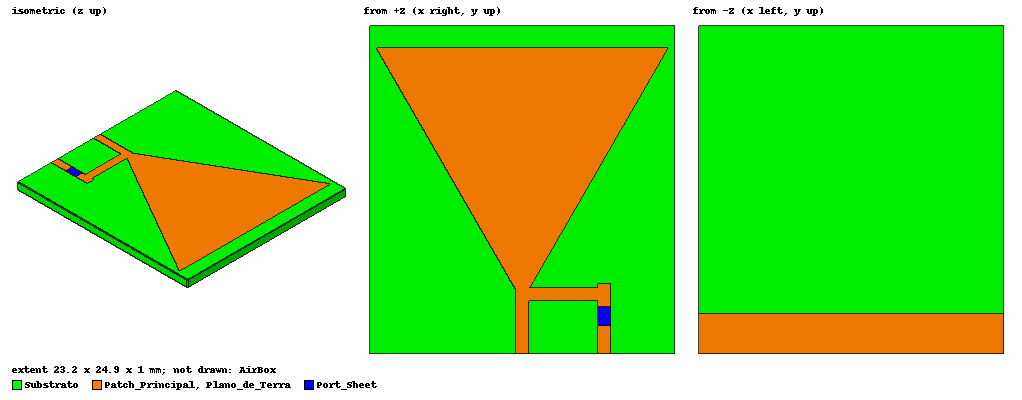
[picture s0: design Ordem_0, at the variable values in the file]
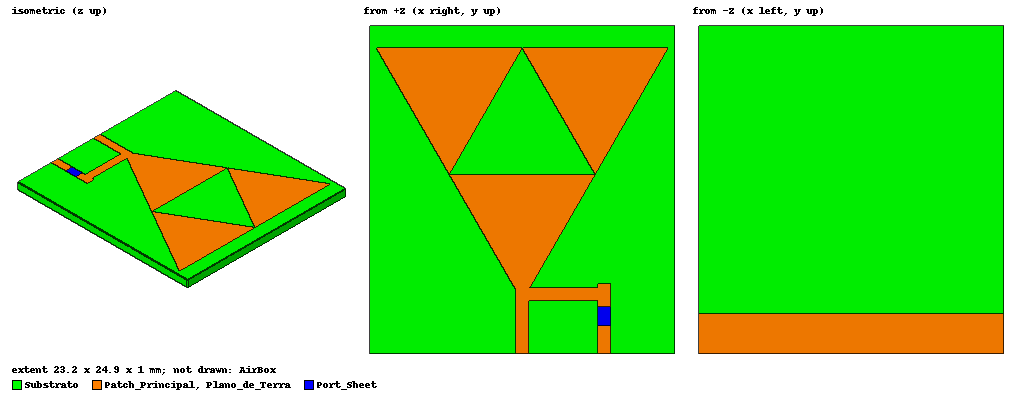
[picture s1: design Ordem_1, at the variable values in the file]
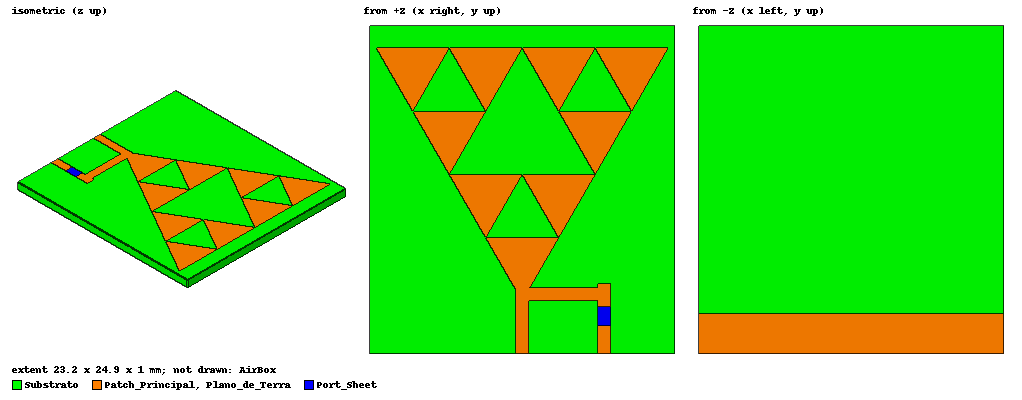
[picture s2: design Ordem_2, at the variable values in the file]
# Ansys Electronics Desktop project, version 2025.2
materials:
  epoxy_Kevlar: permittivity=3.6
  vacuum: permittivity=1

design Ordem_0 (HFSS, HFSS Hybrid Modal Network, model units mm)
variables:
  W_sub = 23.2mm
  L_sub = 24.9mm
  L = 4.8mm
  Ratio_R = 0.577
  W = Ratio_R*L
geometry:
  Substrato [epoxy_Kevlar] = box(corner=(-11.6mm, 0mm, 0mm), size=(23.2mm, 24.9mm, 1mm))
  Plano_de_Terra = rectangle(corner=(-11.6mm, 0mm, 0mm), x_size=23.2mm, y_size=3mm)
  Patch_Principal = polyline(z=1mm, xy: (0mm, 4mm) (4*W, 4mm + 4*L) (-4*W, 4mm + 4*L) (0mm, 4mm), closed, covered)
  Loop_Left = rectangle(corner=(-0.5mm, 0mm, 1mm), x_size=1mm, y_size=5mm)
  Loop_Top = rectangle(corner=(0.5mm, 4mm, 1mm), x_size=5.2mm, y_size=1mm)
  Loop_Right_Bottom = rectangle(corner=(5.7mm, 0mm, 1mm), x_size=1mm, y_size=2.1mm)
  Loop_Right_Top = rectangle(corner=(5.7mm, 3.6mm, 1mm), x_size=1mm, y_size=1.7mm)
  Patch_Principal.unite(Loop_Left, Loop_Top, Loop_Right_Bottom, Loop_Right_Top)
  Via_Left = rectangle(corner=(-0.5mm, 0mm, 0mm), z_size=1mm, x_size=1mm)
  Via_Right = rectangle(corner=(5.7mm, 0mm, 0mm), z_size=1mm, x_size=1mm)
  Port_Sheet = rectangle(corner=(5.7mm, 2.1mm, 1mm), x_size=1mm, y_size=1.5mm)
  AirBox [vacuum] = box(corner=(-46.6mm, -35mm, -35mm), size=(93.2mm, 94.9mm, 71mm))
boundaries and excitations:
  GND_PerfectE: Perfect E Objects=Plano_de_Terra
  Patch_PerfectE: Perfect E Objects=Patch_Principal
  ViaLeft_E: Perfect E Objects=Via_Left
  ViaRight_E: Perfect E Objects=Via_Right
  Radiation1: Radiation Objects=AirBox
  Port1: Lumped Port Objects=Port_Sheet LumpedPortType=Modal Modes{Mode1{IntLine{(6.2, 2.1, 1) -> (6.2, 3.6, 1)} CharImp=Zpi RenormImp=50ohm}} Impedance=50ohm
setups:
  Setup1: HfssDriven Frequency=2.45GHz MaxDeltaS=0.01 MaximumPasses=15 MinimumPasses=3 MinimumConvergedPasses=2 PercentRefinement=30 BasisOrder=1 PortAccuracy=2 DrivenSolverType="Direct Solver"
    sweep Sweep1: 1.5GHz to 4GHz step 0.01GHz; Type=Interpolating InterpTolerance=0.5 InterpMaxSolns=250 InterpUsePortImped=false PassivityErrorTolerance=0.0001
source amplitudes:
  Port1:1: 1W 0deg
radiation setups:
  Infinite Sphere1: Infinite Sphere Theta=0deg..180deg step 2deg Phi=-180deg..180deg step 2deg
  Esfera_2D: Infinite Sphere Theta=-180deg..180deg step 2deg Phi=0deg..90deg step 90deg
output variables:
  S11_chip = (Z(Port1,Port1)-cmplx(30.0,200.0))/(Z(Port1,Port1)+cmplx(30.0,-200.0))
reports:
  Z_entrada: re(Z(Port1,Port1)), im(Z(Port1,Port1)) vs Freq on Setup1 : Sweep1
  S11_chip: dB(S11_chip) vs Freq on Setup1 : Sweep1
  S11_50ohm: dB(S(Port1,Port1)) vs Freq on Setup1 : Sweep1
  Ganho_3D: dB(GainTotal) vs Phi, Theta on Setup1 : LastAdaptive, Infinite Sphere1 [Freq=2.45GHz]
  Diagrama_2D_Planos: dB(GainTotal) vs Theta on Setup1 : LastAdaptive, Esfera_2D [Phi=0deg,90deg Freq=2.45GHz]
  Diagrama_2D_XY: dB(GainTotal) vs Phi on Setup1 : LastAdaptive, Infinite Sphere1 [Theta=90deg Freq=2.45GHz]

design Ordem_1 (HFSS, HFSS Hybrid Modal Network, model units mm)
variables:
  W_sub = 23.2mm
  L_sub = 24.9mm
  L = 4.8mm
  Ratio_R = 0.577
  W = Ratio_R*L
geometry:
  Substrato [epoxy_Kevlar] = box(corner=(-11.6mm, 0mm, 0mm), size=(23.2mm, 24.9mm, 1mm))
  Plano_de_Terra = rectangle(corner=(-11.6mm, 0mm, 0mm), x_size=23.2mm, y_size=3mm)
  Patch_Principal = polyline(z=1mm, xy: (0mm, 4mm) (4*W, 4mm + 4*L) (-4*W, 4mm + 4*L) (0mm, 4mm), closed, covered)
  Cutout_1 = polyline(z=1mm, xy: (2.0*W, 4mm + 2.0*L) (0mm, 4mm + 4.0*L) (-2.0*W, 4mm + 2.0*L) (2.0*W, 4mm + 2.0*L), closed, covered)
  Patch_Principal.subtract(Cutout_1)
  Loop_Left = rectangle(corner=(-0.5mm, 0mm, 1mm), x_size=1mm, y_size=5mm)
  Loop_Top = rectangle(corner=(0.5mm, 4mm, 1mm), x_size=5.2mm, y_size=1mm)
  Loop_Right_Bottom = rectangle(corner=(5.7mm, 0mm, 1mm), x_size=1mm, y_size=2.1mm)
  Loop_Right_Top = rectangle(corner=(5.7mm, 3.6mm, 1mm), x_size=1mm, y_size=1.7mm)
  Patch_Principal.unite(Loop_Left, Loop_Top, Loop_Right_Bottom, Loop_Right_Top)
  Via_Left = rectangle(corner=(-0.5mm, 0mm, 0mm), z_size=1mm, x_size=1mm)
  Via_Right = rectangle(corner=(5.7mm, 0mm, 0mm), z_size=1mm, x_size=1mm)
  Port_Sheet = rectangle(corner=(5.7mm, 2.1mm, 1mm), x_size=1mm, y_size=1.5mm)
  AirBox [vacuum] = box(corner=(-46.6mm, -35mm, -35mm), size=(93.2mm, 94.9mm, 71mm))
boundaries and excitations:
  GND_PerfectE: Perfect E Objects=Plano_de_Terra
  Patch_PerfectE: Perfect E Objects=Patch_Principal
  ViaLeft_E: Perfect E Objects=Via_Left
  ViaRight_E: Perfect E Objects=Via_Right
  Radiation1: Radiation Objects=AirBox
  Port1: Lumped Port Objects=Port_Sheet LumpedPortType=Modal Modes{Mode1{IntLine{(6.2, 2.1, 1) -> (6.2, 3.6, 1)} CharImp=Zpi RenormImp=50ohm}} Impedance=50ohm
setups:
  Setup1: HfssDriven Frequency=2.45GHz MaxDeltaS=0.01 MaximumPasses=15 MinimumPasses=3 MinimumConvergedPasses=2 PercentRefinement=30 BasisOrder=1 PortAccuracy=2 DrivenSolverType="Direct Solver"
    sweep Sweep1: 1.5GHz to 4GHz step 0.01GHz; Type=Interpolating InterpTolerance=0.5 InterpMaxSolns=250 InterpUsePortImped=false PassivityErrorTolerance=0.0001
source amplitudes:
  Port1:1: 1W 0deg
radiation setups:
  Infinite Sphere1: Infinite Sphere Theta=0deg..180deg step 2deg Phi=-180deg..180deg step 2deg
  Esfera_2D: Infinite Sphere Theta=-180deg..180deg step 2deg Phi=0deg..90deg step 90deg
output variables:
  S11_chip = (Z(Port1,Port1)-cmplx(30.0,200.0))/(Z(Port1,Port1)+cmplx(30.0,-200.0))
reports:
  Z_entrada: re(Z(Port1,Port1)), im(Z(Port1,Port1)) vs Freq on Setup1 : Sweep1
  S11_chip: dB(S11_chip) vs Freq on Setup1 : Sweep1
  S11_50ohm: dB(S(Port1,Port1)) vs Freq on Setup1 : Sweep1
  Ganho_3D: dB(GainTotal) vs Phi, Theta on Setup1 : LastAdaptive, Infinite Sphere1 [Freq=2.45GHz]
  Diagrama_2D_Planos: dB(GainTotal) vs Theta on Setup1 : LastAdaptive, Esfera_2D [Phi=0deg,90deg Freq=2.45GHz]
  Diagrama_2D_XY: dB(GainTotal) vs Phi on Setup1 : LastAdaptive, Infinite Sphere1 [Theta=90deg Freq=2.45GHz]

design Ordem_2 (HFSS, HFSS Hybrid Modal Network, model units mm)
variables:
  W_sub = 23.2mm
  L_sub = 24.9mm
  L = 4.8mm
  Ratio_R = 0.577
  W = Ratio_R*L
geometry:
  Substrato [epoxy_Kevlar] = box(corner=(-11.6mm, 0mm, 0mm), size=(23.2mm, 24.9mm, 1mm))
  Plano_de_Terra = rectangle(corner=(-11.6mm, 0mm, 0mm), x_size=23.2mm, y_size=3mm)
  Patch_Principal = polyline(z=1mm, xy: (0mm, 4mm) (4*W, 4mm + 4*L) (-4*W, 4mm + 4*L) (0mm, 4mm), closed, covered)
  Cutout_1 = polyline(z=1mm, xy: (2.0*W, 4mm + 2.0*L) (0mm, 4mm + 4.0*L) (-2.0*W, 4mm + 2.0*L) (2.0*W, 4mm + 2.0*L), closed, covered)
  Cutout_2 = polyline(z=1mm, xy: (1.0*W, 4mm + 1.0*L) (0mm, 4mm + 2.0*L) (-1.0*W, 4mm + 1.0*L) (1.0*W, 4mm + 1.0*L), closed, covered)
  Cutout_3 = polyline(z=1mm, xy: (3.0*W, 4mm + 3.0*L) (2.0*W, 4mm + 4.0*L) (1.0*W, 4mm + 3.0*L) (3.0*W, 4mm + 3.0*L), closed, covered)
  Cutout_4 = polyline(z=1mm, xy: (-1.0*W, 4mm + 3.0*L) (-2.0*W, 4mm + 4.0*L) (-3.0*W, 4mm + 3.0*L) (-1.0*W, 4mm + 3.0*L), closed, covered)
  Patch_Principal.subtract(Cutout_1..Cutout_4)
  Loop_Left = rectangle(corner=(-0.5mm, 0mm, 1mm), x_size=1mm, y_size=5mm)
  Loop_Top = rectangle(corner=(0.5mm, 4mm, 1mm), x_size=5.2mm, y_size=1mm)
  Loop_Right_Bottom = rectangle(corner=(5.7mm, 0mm, 1mm), x_size=1mm, y_size=2.1mm)
  Loop_Right_Top = rectangle(corner=(5.7mm, 3.6mm, 1mm), x_size=1mm, y_size=1.7mm)
  Patch_Principal.unite(Loop_Left, Loop_Top, Loop_Right_Bottom, Loop_Right_Top)
  Via_Left = rectangle(corner=(-0.5mm, 0mm, 0mm), z_size=1mm, x_size=1mm)
  Via_Right = rectangle(corner=(5.7mm, 0mm, 0mm), z_size=1mm, x_size=1mm)
  Port_Sheet = rectangle(corner=(5.7mm, 2.1mm, 1mm), x_size=1mm, y_size=1.5mm)
  AirBox [vacuum] = box(corner=(-46.6mm, -35mm, -35mm), size=(93.2mm, 94.9mm, 71mm))
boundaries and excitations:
  GND_PerfectE: Perfect E Objects=Plano_de_Terra
  Patch_PerfectE: Perfect E Objects=Patch_Principal
  ViaLeft_E: Perfect E Objects=Via_Left
  ViaRight_E: Perfect E Objects=Via_Right
  Radiation1: Radiation Objects=AirBox
  Port1: Lumped Port Objects=Port_Sheet LumpedPortType=Modal Modes{Mode1{IntLine{(6.2, 2.1, 1) -> (6.2, 3.6, 1)} CharImp=Zpi RenormImp=50ohm}} Impedance=50ohm
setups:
  Setup1: HfssDriven Frequency=2.45GHz MaxDeltaS=0.01 MaximumPasses=15 MinimumPasses=3 MinimumConvergedPasses=2 PercentRefinement=30 BasisOrder=1 PortAccuracy=2 DrivenSolverType="Direct Solver"
    sweep Sweep1: 1.5GHz to 4GHz step 0.01GHz; Type=Interpolating InterpTolerance=0.5 InterpMaxSolns=250 InterpUsePortImped=false PassivityErrorTolerance=0.0001
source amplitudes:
  Port1:1: 1W 0deg
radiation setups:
  Infinite Sphere1: Infinite Sphere Theta=0deg..180deg step 2deg Phi=-180deg..180deg step 2deg
  Esfera_2D: Infinite Sphere Theta=-180deg..180deg step 2deg Phi=0deg..90deg step 90deg
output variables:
  S11_chip = (Z(Port1,Port1)-cmplx(30.0,200.0))/(Z(Port1,Port1)+cmplx(30.0,-200.0))
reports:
  Z_entrada: re(Z(Port1,Port1)), im(Z(Port1,Port1)) vs Freq on Setup1 : Sweep1
  S11_chip: dB(S11_chip) vs Freq on Setup1 : Sweep1
  S11_50ohm: dB(S(Port1,Port1)) vs Freq on Setup1 : Sweep1
  Ganho_3D: dB(GainTotal) vs Phi, Theta on Setup1 : LastAdaptive, Infinite Sphere1 [Freq=2.45GHz]
  Diagrama_2D_Planos: dB(GainTotal) vs Theta on Setup1 : LastAdaptive, Esfera_2D [Phi=0deg,90deg Freq=2.45GHz]
  Diagrama_2D_XY: dB(GainTotal) vs Phi on Setup1 : LastAdaptive, Infinite Sphere1 [Theta=90deg Freq=2.45GHz]
